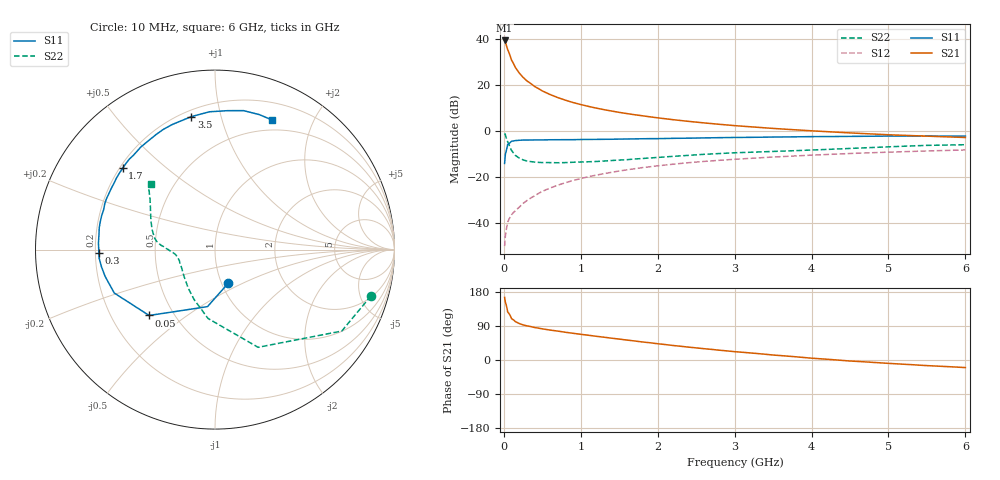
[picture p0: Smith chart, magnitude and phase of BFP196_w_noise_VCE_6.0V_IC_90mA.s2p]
! Infineon Technologies  Discrete & RF Semiconductors
! BFP196
! VCE =  6.0 V,  IC =  90 mA
! Common Emitter S-Parameters:  Jan 2017
# GHz  S  MA  R  50
!  f  S11  S21  S12  S22
! GHz  MAG  ANG  MAG  ANG  MAG  ANG  MAG  ANG
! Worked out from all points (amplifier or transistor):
!   77 points, 10 MHz to 6 GHz, reference 50 ohm
!   highest |S21| = 39.5 dB at 10 MHz (marker M1)
!   |S21| within 3 dB of that: start of sweep to 40.64 MHz
!   unconditionally stable (mu >= 1): 394 MHz to 2.465 GHz
!   at 130 MHz: K = 0.73, MSG = 32.2 dB, |S12| = -35.1 dB
!   at 2.2 GHz: K = 1.01, MAG = 9.1 dB, |S12| = -14.3 dB
!   at 6 GHz: K = 0.95, MSG = 2.7 dB, |S12| = -8.1 dB
!   lowest NFmin = 1.90 dB at 450 MHz
!   S11 on the Smith chart (normalised r, x): 10 MHz: 1.07, -0.42; 50 MHz: 0.36, -0.37; 300 MHz: 0.21, -0.01; 1.7 GHz: 0.21, +0.36; 3.5 GHz: 0.24, +0.81; 6 GHz: 0.38, +1.47
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0.01  0.2012 -68.5  94.4 165.2  0.0032 76.4  0.9067 -16.5
0.02  0.3205 -97.5  87.45 152.4  0.0053 76.1  0.8396 -32.7
0.05  0.519 -135.0  59.8 126.7  0.0107 59.0  0.5951 -66.2
0.1  0.6112 -156.7  35.33 109.0  0.0154 56.6  0.3854 -95.8
0.15  0.6304 -166.4  24.41 101.2  0.0189 60.2  0.3009 -112.9
0.2  0.6399 -171.5  18.56 96.3  0.0225 65.5  0.2623 -124.5
0.25  0.6473 -175.7  14.93 92.6  0.0271 65.9  0.2398 -132.9
0.3  0.6471 -178.5  12.48 90.1  0.0314 66.2  0.227 -139.8
0.4  0.6504 176.8  9.44 85.7  0.0398 69.0  0.2147 -148.5
0.5  0.6516 172.8  7.56 82.2  0.0497 69.5  0.2098 -154.7
0.6  0.6564 169.3  6.329 79.0  0.0586 69.5  0.2094 -159.6
0.7  0.6578 166.5  5.429 76.3  0.0675 69.4  0.2078 -163.0
0.8  0.6592 163.4  4.758 73.2  0.0766 69.1  0.2095 -165.3
1.1  0.6678 154.8  3.486 65.3  0.1036 65.7  0.2183 -171.3
1.4  0.6735 146.6  2.765 57.6  0.1289 62.1  0.2325 -175.5
1.7  0.6855 138.6  2.297 50.2  0.1543 58.0  0.2504 -178.4
2.1  0.6994 128.3  1.877 40.7  0.1856 52.3  0.2787 177.7
3.1  0.7383 107.1  1.295 20.4  0.2528 38.5  0.3468 167.9
3.5  0.7525 100.1  1.158 13.1  0.2767 33.7  0.366 162.8
4.1  0.7692 90.8  1.006 3.4  0.3089 26.1  0.3987 153.8
5.1  0.7898 77.1  0.831 -10.0  0.3574 14.3  0.4678 141.0
6  0.7893 66.1  0.735 -20.0  0.3947 4.3  0.5121 134.4
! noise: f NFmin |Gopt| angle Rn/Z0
0.45  1.9  0.53  -169  0.07
0.9  2.07  0.55  -156  0.11
1.9  2.95  0.71  -129  0.45
2.4  3.36  0.7  -115  0.94
